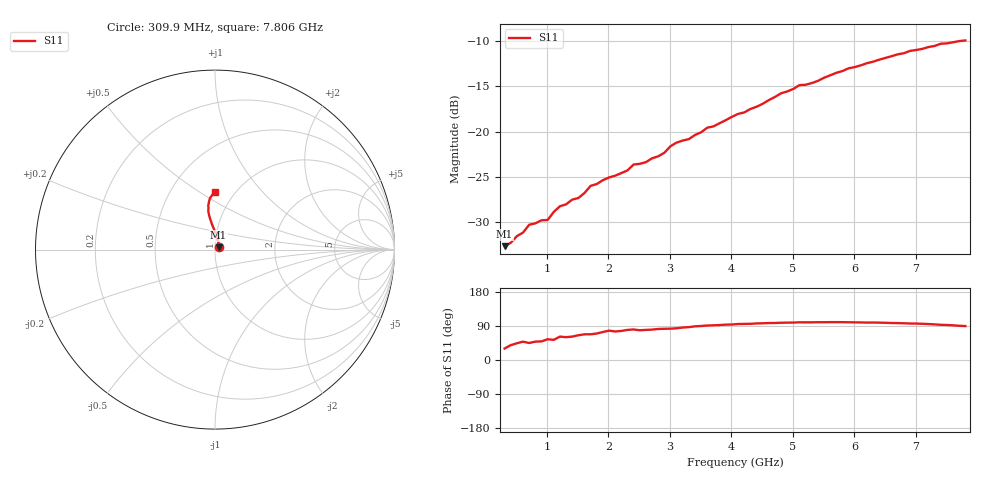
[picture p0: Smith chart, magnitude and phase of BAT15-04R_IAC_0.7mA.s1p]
! Infineon Technologies  Discrete & RF Semiconductors
! BAT15-04R
! IAC = 0.7 mA
! One-Port S-Parameters
# Hz  S  MA  R  50
!f  S11
!Hz  Mag  Ang
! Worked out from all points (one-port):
!   76 points, 309.9 MHz to 7.806 GHz, reference 50 ohm
!   lowest |S11| = -32.6 dB at 309.9 MHz (marker M1), VSWR 1.05, Z = 52 + j1.23 ohm
!   |S11| at or under -10 dB: start of sweep to 7.713 GHz
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3.0985e8  0.02334 30.4
6.097e8  0.02773 48.4
7.0965e8  0.03065 44.9
1.0095e9  0.03254 54.7
1.2094e9  0.03876 61.7
1.30935e9  0.0397 60.2
1.4093e9  0.04217 61.8
1.50925e9  0.04301 65.2
1.70915e9  0.05023 67.9
2.2089e9  0.05906 76.7
2.30885e9  0.06115 79.4
2.4088e9  0.06585 80.6
2.6087e9  0.06788 79.4
2.8086e9  0.07305 81.8
2.90855e9  0.07647 82.4
3.0085e9  0.08312 82.7
3.2084e9  0.08931 85.7
3.30835e9  0.09102 86.7
3.6082e9  0.1052 91.0
3.70815e9  0.1069 91.5
4.10795e9  0.1253 94.9
5.0075e9  0.1721 98.8
5.10745e9  0.1807 99.4
5.30735e9  0.1853 99.4
6.007e9  0.2271 99.3
6.90655e9  0.279 96.3
7.4063e9  0.3056 92.9
7.8061e9  0.3186 89.5
